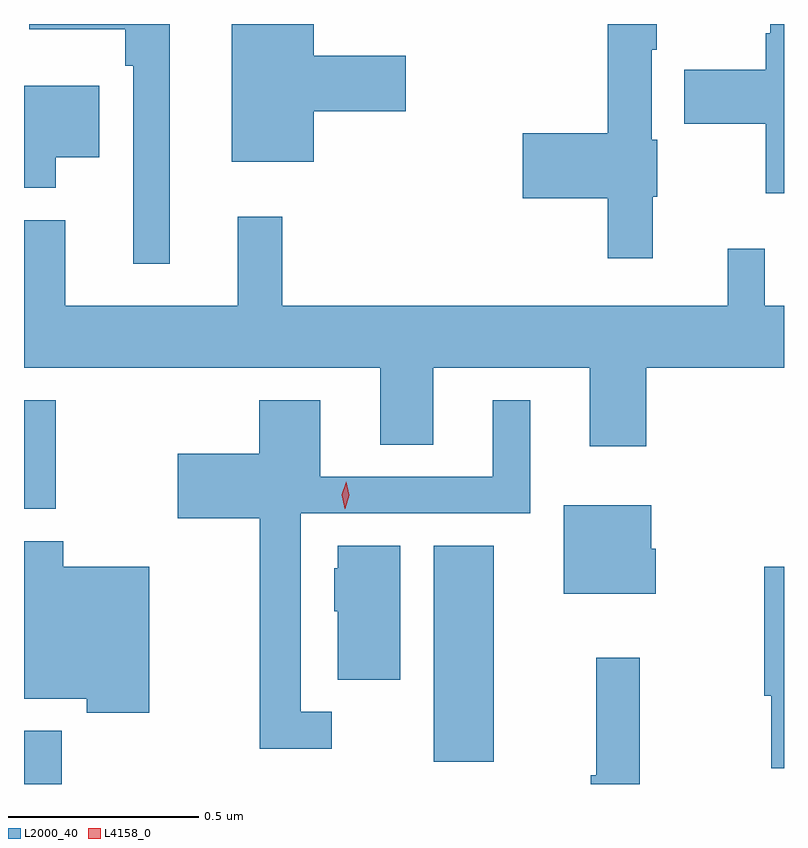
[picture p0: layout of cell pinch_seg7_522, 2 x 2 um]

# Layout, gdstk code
import gdstk
lib = gdstk.Library(unit=1e-6, precision=1e-09)
def R(c, l, rs):  # rectangles x0, y0, x1, y1
    for r in rs: c.add(gdstk.rectangle(r[:2], r[2:], *l))
def P(c, l, *ps):  # polygons
    for p in ps: c.add(gdstk.Polygon(p, *l))
L2000_40 = (2000, 40)
L4158_0 = (4158, 0)

pinch_seg7_522 = lib.new_cell('pinch_seg7_522')
R(pinch_seg7_522, L2000_40, [(133.87,1079.441,133.969,1079.581), (134.948,1079.499,135.106,1080.068), (133.87,1080.165,133.953,1080.451)])
P(pinch_seg7_522, L2000_40, [(135.87,1081.441),(135.834,1081.441),(135.834,1081.417),(135.822,1081.417),(135.822,1081.321),(135.607,1081.321),(135.607,1081.178),(135.822,1081.178),(135.822,1080.995),(135.87,1080.995)],
  [(134.632,1081.211),(134.875,1081.211),(134.875,1081.358),(134.632,1081.358),(134.632,1081.441),(134.417,1081.441),(134.417,1081.079),(134.632,1081.079)],
  [(134.254,1081.441),(133.884,1081.441),(133.884,1081.427),(134.137,1081.427),(134.137,1081.331),(134.157,1081.331),(134.157,1080.81),(134.254,1080.81)],
  [(135.524,1080.987),(135.537,1080.987),(135.537,1081.137),(135.522,1081.137),(135.522,1081.373),(135.535,1081.373),(135.535,1081.441),(135.406,1081.441),(135.406,1081.154),(135.183,1081.154),(135.183,1080.983),(135.406,1080.983),(135.406,1080.825),(135.524,1080.825)],
  [(133.954,1081.091),(134.068,1081.091),(134.068,1081.279),(133.87,1081.279),(133.87,1081.01),(133.954,1081.01)],
  [(135.507,1080.536),(135.87,1080.536),(135.87,1080.7),(135.819,1080.7),(135.819,1080.85),(135.722,1080.85),(135.722,1080.7),(134.549,1080.7),(134.549,1080.934),(134.432,1080.934),(134.432,1080.7),(133.979,1080.7),(133.979,1080.925),(133.87,1080.925),(133.87,1080.536),(134.807,1080.536),(134.807,1080.334),(134.947,1080.334),(134.947,1080.536),(135.359,1080.536),(135.359,1080.33),(135.507,1080.33)],
  [(134.68,1079.631),(134.598,1079.631),(134.598,1080.153),(135.202,1080.153),(135.202,1080.451),(135.104,1080.451),(135.104,1080.249),(134.65,1080.249),(134.65,1080.451),(134.489,1080.451),(134.489,1080.31),(134.274,1080.31),(134.274,1080.14),(134.49,1080.14),(134.49,1079.534),(134.68,1079.534)],
  [(135.532,1080.06),(135.52,1080.06),(135.52,1080.175),(135.29,1080.175),(135.29,1079.942),(135.532,1079.942)],
  [(134.2,1080.013),(133.973,1080.013),(133.973,1080.08),(133.87,1080.08),(133.87,1079.666),(134.035,1079.666),(134.035,1079.628),(134.2,1079.628)],
  [(134.86,1080.068),(134.696,1080.068),(134.696,1080.009),(134.687,1080.009),(134.687,1079.895),(134.696,1079.895),(134.696,1079.715),(134.86,1079.715)],
  [(135.87,1080.013),(135.818,1080.013),(135.818,1079.673),(135.836,1079.673),(135.836,1079.483),(135.87,1079.483)],
  [(135.49,1079.773),(135.376,1079.773),(135.376,1079.464),(135.361,1079.464),(135.361,1079.441),(135.49,1079.441)])
P(pinch_seg7_522, L4158_0, [(134.714,1080.165),(134.714,1080.165),(134.706,1080.202),(134.718,1080.237),(134.718,1080.237),(134.718,1080.237),(134.726,1080.201),(134.715,1080.165)])

lib.write_gds('pinch_seg7_522.gds')
